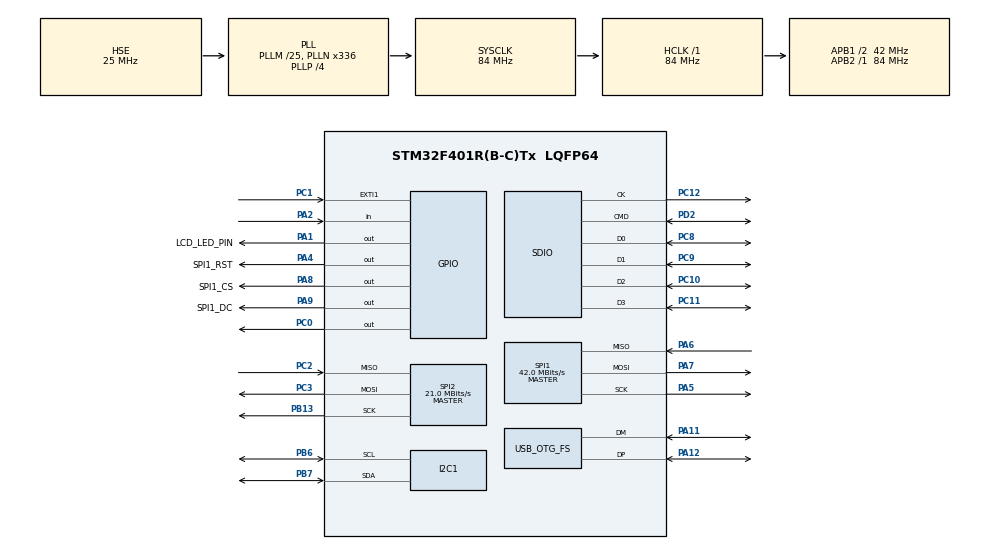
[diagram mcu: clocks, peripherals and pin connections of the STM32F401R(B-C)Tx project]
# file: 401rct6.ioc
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Dma.Request0=SPI1_TX
Dma.Request1=SDIO
Dma.SDIO.1.Direction=DMA_PERIPH_TO_MEMORY
Dma.SDIO.1.FIFOMode=DMA_FIFOMODE_ENABLE
Dma.SDIO.1.FIFOThreshold=DMA_FIFO_THRESHOLD_FULL
Dma.SDIO.1.Instance=DMA2_Stream3
Dma.SDIO.1.MemBurst=DMA_MBURST_INC4
Dma.SDIO.1.MemDataAlignment=DMA_MDATAALIGN_WORD
Dma.SDIO.1.MemInc=DMA_MINC_ENABLE
Dma.SDIO.1.Mode=DMA_PFCTRL
Dma.SDIO.1.PeriphBurst=DMA_PBURST_INC4
Dma.SDIO.1.PeriphDataAlignment=DMA_PDATAALIGN_WORD
Dma.SDIO.1.PeriphInc=DMA_PINC_DISABLE
Dma.SDIO.1.Priority=DMA_PRIORITY_LOW
Dma.SPI1_TX.0.Direction=DMA_MEMORY_TO_PERIPH
Dma.SPI1_TX.0.FIFOMode=DMA_FIFOMODE_DISABLE
Dma.SPI1_TX.0.Instance=DMA2_Stream5
Dma.SPI1_TX.0.MemDataAlignment=DMA_MDATAALIGN_BYTE
Dma.SPI1_TX.0.MemInc=DMA_MINC_ENABLE
Dma.SPI1_TX.0.Mode=DMA_NORMAL
Dma.SPI1_TX.0.PeriphDataAlignment=DMA_PDATAALIGN_BYTE
Dma.SPI1_TX.0.PeriphInc=DMA_PINC_DISABLE
Dma.SPI1_TX.0.Priority=DMA_PRIORITY_MEDIUM
FATFS.USE_DMA_CODE_SD=1
FATFS._CODE_PAGE=850
Mcu.Family=STM32F4
Mcu.Name=STM32F401R(B-C)Tx
Mcu.Package=LQFP64
NVIC.DMA2_Stream3_IRQn=true\:1\:0\:true\:false\:true\:false\:true\:true
NVIC.DMA2_Stream5_IRQn=true\:1\:0\:true\:false\:true\:false\:true\:true
NVIC.OTG_FS_IRQn=true\:0\:0\:true\:false\:true\:true\:true\:true
NVIC.PriorityGroup=NVIC_PRIORITYGROUP_4
NVIC.SDIO_IRQn=true\:1\:0\:true\:false\:true\:true\:true\:true
NVIC.TIM2_IRQn=true\:2\:0\:true\:false\:true\:true\:true\:true
PA1.GPIO_Label=LCD_LED_PIN
PA1.GPIO_PuPd=GPIO_PULLUP
PA1.GPIO_Speed=GPIO_SPEED_FREQ_HIGH
PA1.PinState=GPIO_PIN_SET
PA1.Signal=GPIO_Output
PA11.Mode=Device_Only
PA11.Signal=USB_OTG_FS_DM
PA12.Mode=Device_Only
PA12.Signal=USB_OTG_FS_DP
PA13.Mode=Serial_Wire
PA13.Signal=SYS_JTMS-SWDIO
PA14.Mode=Serial_Wire
PA14.Signal=SYS_JTCK-SWCLK
PA2.Signal=GPIO_Input
PA4.GPIO_Label=SPI1_RST
PA4.GPIO_ModeDefaultOutputPP=GPIO_MODE_OUTPUT_PP
PA4.GPIO_PuPd=GPIO_NOPULL
PA4.GPIO_Speed=GPIO_SPEED_FREQ_HIGH
PA4.PinState=GPIO_PIN_SET
PA4.Signal=GPIO_Output
PA5.Mode=Full_Duplex_Master
PA5.Signal=SPI1_SCK
PA6.Mode=Full_Duplex_Master
PA6.Signal=SPI1_MISO
PA7.Mode=Full_Duplex_Master
PA7.Signal=SPI1_MOSI
PA8.GPIO_Label=SPI1_CS
PA8.GPIO_PuPd=GPIO_PULLUP
PA8.GPIO_Speed=GPIO_SPEED_FREQ_HIGH
PA8.PinState=GPIO_PIN_SET
PA8.Signal=GPIO_Output
PA9.GPIO_Label=SPI1_DC
PA9.GPIO_PuPd=GPIO_PULLUP
PA9.GPIO_Speed=GPIO_SPEED_FREQ_HIGH
PA9.PinState=GPIO_PIN_SET
PA9.Signal=GPIO_Output
PB13.Mode=Full_Duplex_Master
PB13.Signal=SPI2_SCK
PB6.Mode=I2C
PB6.Signal=I2C1_SCL
PB7.Mode=I2C
PB7.Signal=I2C1_SDA
PC0.Signal=GPIO_Output
PC1.Signal=GPXTI1
PC10.Mode=SD_4_bits_Wide_bus
PC10.Signal=SDIO_D2
PC11.Mode=SD_4_bits_Wide_bus
PC11.Signal=SDIO_D3
PC12.Mode=SD_4_bits_Wide_bus
PC12.Signal=SDIO_CK
PC2.Mode=Full_Duplex_Master
PC2.Signal=SPI2_MISO
PC3.Mode=Full_Duplex_Master
PC3.Signal=SPI2_MOSI
PC8.Mode=SD_4_bits_Wide_bus
PC8.Signal=SDIO_D0
PC9.Mode=SD_4_bits_Wide_bus
PC9.Signal=SDIO_D1
PD2.Mode=SD_4_bits_Wide_bus
PD2.Signal=SDIO_CMD
PH0\ -\ OSC_IN.Mode=HSE-External-Oscillator
PH0\ -\ OSC_IN.Signal=RCC_OSC_IN
PH1\ -\ OSC_OUT.Mode=HSE-External-Oscillator
PH1\ -\ OSC_OUT.Signal=RCC_OSC_OUT
ProjectManager.HeapSize=0x200
ProjectManager.StackSize=0x400
ProjectManager.TargetToolchain=MDK-ARM V5.32
RCC.48MHZClocksFreq_Value=48000000
RCC.AHBFreq_Value=84000000
RCC.APB1CLKDivider=RCC_HCLK_DIV2
RCC.APB1Freq_Value=42000000
RCC.APB1TimFreq_Value=84000000
RCC.APB2Freq_Value=84000000
RCC.APB2TimFreq_Value=84000000
RCC.CortexFreq_Value=84000000
RCC.HCLKFreq_Value=84000000
RCC.HSE_VALUE=25000000
RCC.HSI_VALUE=16000000
RCC.LSE_VALUE=32768
RCC.PLLM=25
RCC.PLLN=336
RCC.PLLP=RCC_PLLP_DIV4
RCC.PLLQ=7
RCC.SYSCLKFreq_VALUE=84000000
RCC.SYSCLKSource=RCC_SYSCLKSOURCE_PLLCLK
RCC.VCOOutputFreq_Value=336000000
SDIO.ClockBypass=SDIO_CLOCK_BYPASS_DISABLE
SPI1.BaudRatePrescaler=SPI_BAUDRATEPRESCALER_2
SPI1.CLKPhase=SPI_PHASE_1EDGE
SPI1.CLKPolarity=SPI_POLARITY_LOW
SPI1.CalculateBaudRate=42.0 MBits/s
SPI1.Direction=SPI_DIRECTION_2LINES
SPI1.Mode=SPI_MODE_MASTER
SPI1.VirtualType=VM_MASTER
SPI2.BaudRatePrescaler=SPI_BAUDRATEPRESCALER_2
SPI2.CalculateBaudRate=21.0 MBits/s
SPI2.Direction=SPI_DIRECTION_2LINES
SPI2.Mode=SPI_MODE_MASTER
SPI2.VirtualType=VM_MASTER
TIM2.AutoReloadPreload=TIM_AUTORELOAD_PRELOAD_DISABLE
TIM2.Period=99999
TIM2.Prescaler=83
USB_DEVICE.CLASS_NAME_FS=MSC
USB_DEVICE.MSC_MEDIA_PACKET=4096
USB_DEVICE.VirtualMode=Msc
USB_DEVICE.VirtualModeFS=Msc_FS
USB_OTG_FS.VirtualMode=Device_Only
VP_FATFS_VS_SDIO.Mode=SDIO
VP_TIM2_VS_ClockSourceINT.Mode=Internal
VP_USB_DEVICE_VS_USB_DEVICE_MSC_FS.Mode=MSC_FS
board=custom

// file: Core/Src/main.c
/* USER CODE BEGIN Header */
/**
  ******************************************************************************
  * @file           : main.c
  * @brief          : Main program body
  ******************************************************************************
  * @attention
  *
  * Copyright (c) 2025 STMicroelectronics.
  * All rights reserved.
  *
  * This software is licensed under terms that can be found in the LICENSE file
  * in the root directory of this software component.
  * If no LICENSE file comes with this software, it is provided AS-IS.
  *
  ******************************************************************************
  */
/* USER CODE END Header */
#include "main.h"
#include "dma.h"
#include "fatfs.h"
#include "i2c.h"
#include "sdio.h"
#include "spi.h"
#include "tim.h"
#include "usb_device.h"
#include "gpio.h"

/* USER CODE BEGIN Includes */
#include "lcd.h"
#include "pic.h"
#include "tf.h"
#include "ff.h"
#include <string.h>
#include <stdint.h>
#include "show.h"
#include "ffconf.h"
#include <stdio.h>  // �ؼ��޸������ stdio.h����� sprintf ��ʽ��������
#include "tjpgd.h"
/* USER CODE END Includes */

/* USER CODE BEGIN PD */
// Number of bytes displayed per line (avoid too many per line on LCD)
#define SHOW_BYTES_PER_LINE 16
/* USER CODE END PD */

/* USER CODE BEGIN PM */
// Hex display helper macro
#define HEX_CHAR(c) ((c) < 10 ? '0' + (c) : 'A' + (c) - 10)
/* USER CODE END PM */

/* USER CODE BEGIN PV */
// LCD display height offset
uint16_t lcd_show_height = 20;
// TF card low-level test buffer
uint8_t sd_tx_buf[512] = {0};
uint8_t sd_rx_buf[512] = {0};
// Test parameters
#define TEST_BLOCK_ADDR 100     // Test sector address
#define TEST_BLOCK_NUM  1       // Number of operating sectors
#define SD_TIMEOUT_MS   5000    // SD operation timeout (5s)

// FatFS related variables
FATFS fs;         // FatFS file system object
//FIL file;         // File object
FRESULT fr;       // Function return result
UINT br;          // Number of bytes read
char show_buf[128]; // Display buffer
uint8_t bin_buf[256]; // Bin file read buffer (enough for small bin files)
/* USER CODE END PV */

void SystemClock_Config(void);

int main(void)
{

  /* MCU Configuration--------------------------------------------------------*/

  /* Reset of all peripherals, Initializes the Flash interface and the Systick. */
  HAL_Init();

  /* Configure the system clock */
  SystemClock_Config();

  /* Initialize all configured peripherals */
  MX_GPIO_Init();
  MX_DMA_Init();
  MX_SDIO_SD_Init();
  MX_SPI1_Init();
  MX_FATFS_Init();
  MX_SPI2_Init();
  MX_I2C1_Init();
  MX_TIM2_Init();
  MX_USB_DEVICE_Init();
  /* USER CODE BEGIN 2 */
  fr = f_mount(&fs, "0:/", 1); // 第三个参数1=立即挂载
	LCD_Init();
	//SPI1_DMA_Init();
	//LCD_Clear(WHITE);
  //SD_Test(); // TF card low-level test (reserved to ensure hardware normal)
	//fr = f_mount(&fs, "0:/", 1);
// 配置DMA中断优先级
  LCD_ShowString(10, 10, 220, 16, 16, (uint8_t*)"Mounting 0:/...");
  if (fr != FR_OK) {
    sprintf(show_buf, "Mount Err: %d", fr);
    LCD_ShowString(10, 30, 220, 16, 16, (uint8_t*)show_buf);
    HAL_Delay(3000);
    while(1);
  }
  LCD_ShowString(10, 30, 220, 16, 16, (uint8_t*)"Mount OK");
	// 增加USB初始化状态打印（如果有串口）
  // ========== 显示（清空调试信息） ==========
  //LCD_Clear(WHITE);
	//Show_MaxFPS_Test_SimTF_Fast(100);
	//List_Folder_Files("0:");
	//Show_Veo_From_Bin("0:/veo1.bin");
	//Show_JPG_From_File("0:/jpg1.jpg");
  /* USER CODE END 2 */

  /* Infinite loop */
  while (1)
  {

    /* USER CODE BEGIN 3 */
		//Play_Bin_Folder_Loop("0:/pic");
		//Show_Image_From_Bin("0:/pic/img1.bin");
  }
  /* USER CODE END 3 */
}

void SystemClock_Config(void)
{
  RCC_OscInitTypeDef RCC_OscInitStruct = {0};
  RCC_ClkInitTypeDef RCC_ClkInitStruct = {0};

  /** Configure the main internal regulator output voltage
  */
  __HAL_RCC_PWR_CLK_ENABLE();
  __HAL_PWR_VOLTAGESCALING_CONFIG(PWR_REGULATOR_VOLTAGE_SCALE2);

  /** Initializes the RCC Oscillators according to the specified parameters
  * in the RCC_OscInitTypeDef structure.
  */
  RCC_OscInitStruct.OscillatorType = RCC_OSCILLATORTYPE_HSE;
  RCC_OscInitStruct.HSEState = RCC_HSE_ON;
  RCC_OscInitStruct.PLL.PLLState = RCC_PLL_ON;
  RCC_OscInitStruct.PLL.PLLSource = RCC_PLLSOURCE_HSE;
  RCC_OscInitStruct.PLL.PLLM = 25;
  RCC_OscInitStruct.PLL.PLLN = 336;
  RCC_OscInitStruct.PLL.PLLP = RCC_PLLP_DIV4;
  RCC_OscInitStruct.PLL.PLLQ = 7;
  if (HAL_RCC_OscConfig(&RCC_OscInitStruct) != HAL_OK)
  {
    Error_Handler();
  }

  /** Initializes the CPU, AHB and APB buses clocks
  */
  RCC_ClkInitStruct.ClockType = RCC_CLOCKTYPE_HCLK|RCC_CLOCKTYPE_SYSCLK
                              |RCC_CLOCKTYPE_PCLK1|RCC_CLOCKTYPE_PCLK2;
  RCC_ClkInitStruct.SYSCLKSource = RCC_SYSCLKSOURCE_PLLCLK;
  RCC_ClkInitStruct.AHBCLKDivider = RCC_SYSCLK_DIV1;
  RCC_ClkInitStruct.APB1CLKDivider = RCC_HCLK_DIV2;
  RCC_ClkInitStruct.APB2CLKDivider = RCC_HCLK_DIV1;

  if (HAL_RCC_ClockConfig(&RCC_ClkInitStruct, FLASH_LATENCY_2) != HAL_OK)
  {
    Error_Handler();
  }
}

void Error_Handler(void)
{
  __disable_irq();
  while (1)
  {
  }
}
